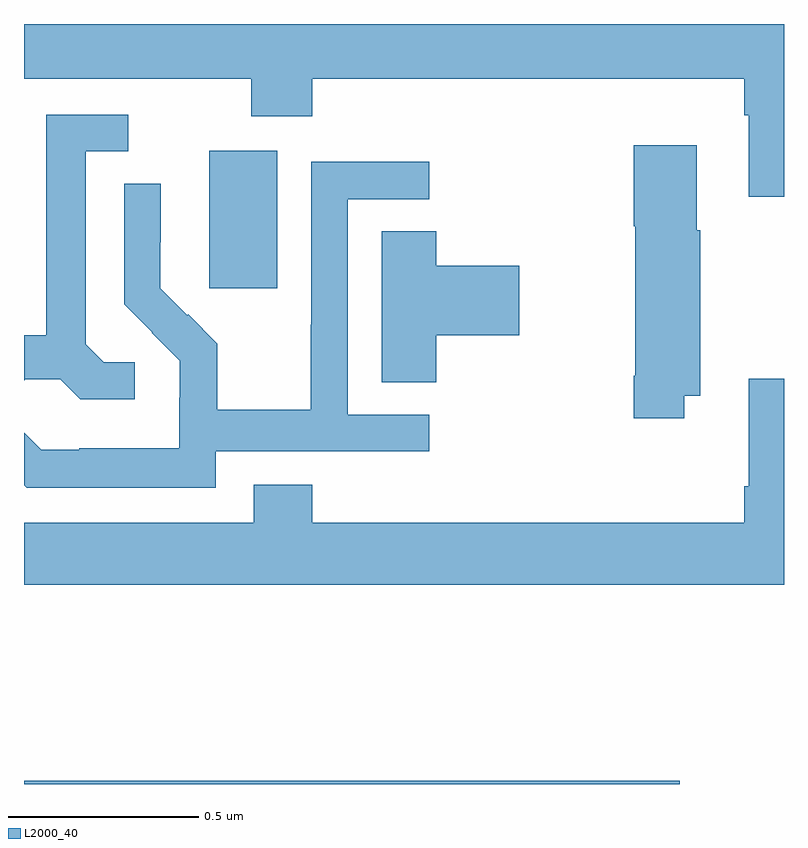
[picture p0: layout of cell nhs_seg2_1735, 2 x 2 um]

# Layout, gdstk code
import gdstk
lib = gdstk.Library(unit=1e-6, precision=1e-09)
def R(c, l, rs):  # rectangles x0, y0, x1, y1
    for r in rs: c.add(gdstk.rectangle(r[:2], r[2:], *l))
def P(c, l, *ps):  # polygons
    for p in ps: c.add(gdstk.Polygon(p, *l))
L2000_40 = (2000, 40)

nhs_seg2_1735 = lib.new_cell('nhs_seg2_1735')
R(nhs_seg2_1735, L2000_40, [(132,625.8,133.726,625.808), (132.488,627.105,132.667,627.466)])
P(nhs_seg2_1735, L2000_40, [(134,627.8),(132,627.8),(132,627.656),(132.598,627.656),(132.598,627.557),(132.758,627.557),(132.758,627.656),(133.895,627.656),(133.895,627.56),(133.907,627.56),(133.907,627.345),(134,627.345)],
  [(132.292,626.91),(132.21,626.91),(132.163,626.957),(132.163,627.465),(132.274,627.465),(132.274,627.561),(132.059,627.561),(132.059,626.981),(132,626.981),(132,626.862),(132.002,626.862),(132.002,626.865),(132.096,626.865),(132.148,626.813),(132.292,626.813)],
  [(133.738,626.822),(133.779,626.822),(133.779,627.257),(133.771,627.257),(133.771,627.481),(133.604,627.481),(133.604,627.268),(133.609,627.268),(133.609,626.875),(133.604,626.875),(133.604,626.763),(133.738,626.763)],
  [(132.504,626.676),(133.066,626.676),(133.066,626.772),(132.852,626.772),(132.852,627.339),(133.066,627.339),(133.066,627.438),(132.756,627.438),(132.756,627.008),(132.754,627.008),(132.754,626.785),(132.509,626.785),(132.509,626.959),(132.432,627.036),(132.429,627.033),(132.359,627.104),(132.359,627.226),(132.36,627.226),(132.36,627.38),(132.264,627.38),(132.264,627.062),(132.337,626.989),(132.336,626.988),(132.41,626.914),(132.41,626.817),(132.408,626.817),(132.408,626.683),(132.145,626.683),(132.145,626.679),(132.045,626.679),(132,626.724),(132,626.586),(132.007,626.579),(132.504,626.579)],
  [(133.085,626.981),(133.303,626.981),(133.303,627.164),(133.085,627.164),(133.085,627.254),(132.941,627.254),(132.941,626.857),(133.085,626.857)],
  [(134,626.866),(133.907,626.866),(133.907,626.584),(133.895,626.584),(133.895,626.488),(132.758,626.488),(132.758,626.587),(132.605,626.587),(132.605,626.488),(132,626.488),(132,626.324),(134,626.324)])

lib.write_gds('nhs_seg2_1735.gds')
